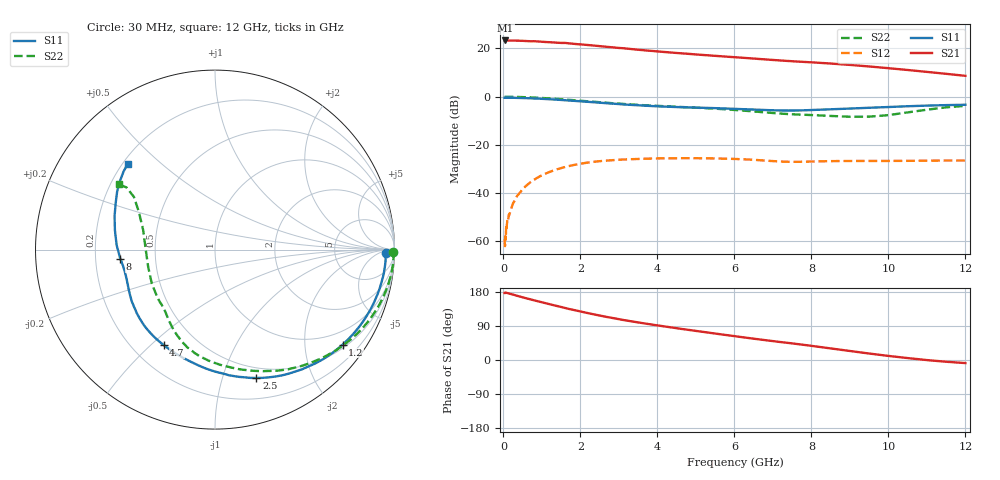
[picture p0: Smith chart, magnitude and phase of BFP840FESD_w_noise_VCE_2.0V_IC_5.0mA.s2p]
! Infineon Technologies  Discrete & RF Semiconductors
! BFP840FESD
! VCE =  2.0 V,  IC =  5.0 mA
! Common Emitter S-Parameters:  May 2012
# GHz  S  MA  R  50
!  f  S11  S21  S12  S22
! GHz  MAG  ANG  MAG  ANG  MAG  ANG  MAG  ANG
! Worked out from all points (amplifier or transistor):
!   103 points, 30 MHz to 12 GHz, reference 50 ohm
!   highest |S21| = 23.3 dB at 50 MHz (marker M1)
!   |S21| within 3 dB of that: start of sweep to 2.931 GHz
!   unconditionally stable (mu >= 1): 7.063 GHz to end of sweep
!   at 400 MHz: K = 0.06, MSG = 31.7 dB, |S12| = -40.3 dB
!   at 3.7 GHz: K = 0.35, MSG = 22.4 dB, |S12| = -25.7 dB
!   at 12 GHz: K = 1.26, MAG = 14.5 dB, |S12| = -26.5 dB
!   lowest NFmin = 0.55 dB at 450 MHz
!   S11 on the Smith chart (normalised r, x): 30 MHz: 37, -14; 1.2 GHz: 0.59, -2.91; 2.5 GHz: 0.39, -1.30; 4.7 GHz: 0.33, -0.55; 8 GHz: 0.31, -0.04; 12 GHz: 0.22, +0.39
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0.03  0.9536 -1.0  14.59 176.7  0.0011 68.3  0.9939 -0.7
0.04  0.9526 -1.3  14.58 176.6  0.0008 56.0  0.9945 -0.9
0.05  0.9518 -1.6  14.64 178.0  0.0013 63.6  0.9962 -1.1
0.06  0.9527 -1.9  14.6 177.7  0.0011 53.7  0.9945 -1.4
0.14  0.9521 -4.4  14.57 175.7  0.0036 84.4  0.995 -3.6
0.5  0.9386 -15.6  14.38 165.4  0.0122 78.1  0.981 -12.9
0.8  0.9193 -24.9  14.12 157.4  0.0191 71.9  0.9595 -20.5
1.2  0.8865 -36.7  13.46 147.2  0.0277 63.6  0.9204 -30.5
1.6  0.8453 -48.6  13.02 137.3  0.0349 55.8  0.8741 -40.3
2.1  0.7934 -62.1  11.96 125.8  0.0421 46.4  0.8138 -52.1
2.5  0.7516 -72.1  11.17 117.3  0.0461 39.6  0.7693 -60.7
3.3  0.6784 -90.3  9.753 102.4  0.0507 29.2  0.6927 -75.6
4.1  0.6288 -106.5  8.554 89.8  0.0528 21.4  0.6406 -87.9
4.7  0.6037 -118.3  7.844 81.0  0.0532 16.8  0.6085 -96.0
5.4  0.5826 -130.7  7.121 71.2  0.0527 12.1  0.5706 -104.7
6.1  0.5562 -142.8  6.511 61.6  0.051 8.2  0.5243 -113.4
6.9  0.5266 -156.6  5.851 51.1  0.0469 6.0  0.4665 -123.9
8  0.53 -174.5  5.157 37.4  0.0454 10.8  0.4169 -140.4
8.5  0.5486 177.4  4.87 30.6  0.0463 11.3  0.3997 -151.8
9.5  0.59 161.5  4.236 17.1  0.0467 11.7  0.3861 179.8
10.5  0.6346 149.2  3.579 5.1  0.0469 13.4  0.473 153.7
12  0.6808 135.7  2.707 -8.2  0.0475 17.5  0.6474 145.8
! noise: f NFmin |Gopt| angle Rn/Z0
0.45  0.55  0.51  6  0.17
0.9  0.59  0.49  12  0.18
1.5  0.61  0.45  18  0.17
1.9  0.63  0.41  27  0.17
2.4  0.65  0.39  34  0.18
3.5  0.66  0.38  54  0.17
5.5  0.75  0.26  92  0.12
8  0.92  0.22  150  0.11
10  1.08  0.26  -154  0.11
12  1.29  0.43  -126  0.13
